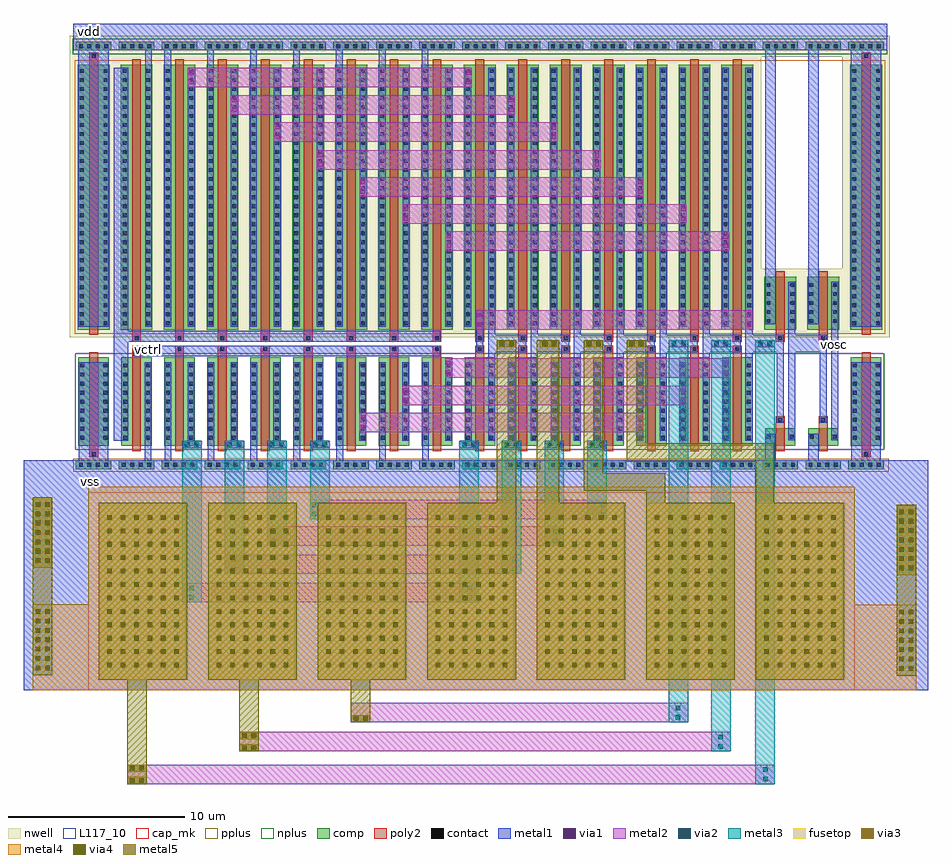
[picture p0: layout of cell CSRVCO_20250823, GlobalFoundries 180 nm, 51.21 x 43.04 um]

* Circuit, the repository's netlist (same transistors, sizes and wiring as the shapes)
** sch_path: /foss/designs/libs/core_analog/CSRVCO_20250823/CSRVCO_20250823.sch
.subckt CSRVCO_20250823 vctrl vdd vss vosc
*.PININFO vdd:B vss:B vosc:B vctrl:B
XM1 net8 net21 net1 vdd pfet_03v3 L=0.5u W=15.0u nf=1 m=1
XM2 net8 net21 net9 vss nfet_03v3 L=0.5u W=5.0u nf=1 m=1
XM3 net16 net8 net2 vdd pfet_03v3 L=0.5u W=15.0u nf=1 m=1
XM4 net16 net8 net10 vss nfet_03v3 L=0.5u W=5.0u nf=1 m=1
XM5 net17 net16 net3 vdd pfet_03v3 L=0.5u W=15.0u nf=1 m=1
XM6 net17 net16 net11 vss nfet_03v3 L=0.5u W=5.0u nf=1 m=1
XM7 net18 net17 net4 vdd pfet_03v3 L=0.5u W=15.0u nf=1 m=1
XM8 net18 net17 net12 vss nfet_03v3 L=0.5u W=5.0u nf=1 m=1
XM9 net19 net18 net5 vdd pfet_03v3 L=0.5u W=15.0u nf=1 m=1
XM10 net19 net18 net13 vss nfet_03v3 L=0.5u W=5.0u nf=1 m=1
XM11 net20 net19 net6 vdd pfet_03v3 L=0.5u W=15.0u nf=1 m=1
XM12 net20 net19 net14 vss nfet_03v3 L=0.5u W=5.0u nf=1 m=1
XM13 net21 net20 net7 vdd pfet_03v3 L=0.5u W=15.0u nf=1 m=1
XM14 net21 net20 net15 vss nfet_03v3 L=0.5u W=5.0u nf=1 m=1
XM15 net1 net22 vdd vdd pfet_03v3 L=0.5u W=15.0u nf=1 m=1
XM16 net9 vctrl vss vss nfet_03v3 L=0.5u W=5.0u nf=1 m=1
XM17 net2 net22 vdd vdd pfet_03v3 L=0.5u W=15.0u nf=1 m=1
XM18 net10 vctrl vss vss nfet_03v3 L=0.5u W=5.0u nf=1 m=1
XM19 net3 net22 vdd vdd pfet_03v3 L=0.5u W=15.0u nf=1 m=1
XM20 net11 vctrl vss vss nfet_03v3 L=0.5u W=5.0u nf=1 m=1
XM21 net4 net22 vdd vdd pfet_03v3 L=0.5u W=15.0u nf=1 m=1
XM22 net12 vctrl vss vss nfet_03v3 L=0.5u W=5.0u nf=1 m=1
XM23 net5 net22 vdd vdd pfet_03v3 L=0.5u W=15.0u nf=1 m=1
XM24 net13 vctrl vss vss nfet_03v3 L=0.5u W=5.0u nf=1 m=1
XM25 net6 net22 vdd vdd pfet_03v3 L=0.5u W=15.0u nf=1 m=1
XM26 net14 vctrl vss vss nfet_03v3 L=0.5u W=5.0u nf=1 m=1
XM27 net7 net22 vdd vdd pfet_03v3 L=0.5u W=15.0u nf=1 m=1
XM28 net15 vctrl vss vss nfet_03v3 L=0.5u W=5.0u nf=1 m=1
XM29 net22 net22 vdd vdd pfet_03v3 L=0.5u W=15.0u nf=1 m=1
XM30 net22 vctrl vss vss nfet_03v3 L=0.5u W=5.0u nf=1 m=1
x1 net21 vss vosc vdd asc_delay
XM31 vss vss vss vss nfet_03v3 L=0.5u W=5.0u nf=1 m=2
XM32 vdd vdd vdd vdd pfet_03v3 L=0.5u W=15.0u nf=1 m=2
XC1 net8 vss cap_mim_2f0fF c_width=10e-6 c_length=5e-6 m=1
XC2 net16 vss cap_mim_2f0fF c_width=10e-6 c_length=5e-6 m=1
XC3 net17 vss cap_mim_2f0fF c_width=10e-6 c_length=5e-6 m=1
XC4 net18 vss cap_mim_2f0fF c_width=10e-6 c_length=5e-6 m=1
XC5 net19 vss cap_mim_2f0fF c_width=10e-6 c_length=5e-6 m=1
XC6 net20 vss cap_mim_2f0fF c_width=10e-6 c_length=5e-6 m=1
XC7 net21 vss cap_mim_2f0fF c_width=10e-6 c_length=5e-6 m=1
.ends

* expanding   symbol:  libs/core_analog/asc_delay/asc_delay.sym # of pins=4
** sym_path: /foss/designs/libs/core_analog/asc_delay/asc_delay.sym
** sch_path: /foss/designs/libs/core_analog/asc_delay/asc_delay.sch
.subckt asc_delay in vss out vdd
*.PININFO vdd:B vss:B in:B out:B
x1 in vdd net1 vss inv1u05u
x2 net1 vdd out vss inv1u05u
.ends


* expanding   symbol:  libs/core_analog/inv1u05u/inv1u05u.sym # of pins=4
** sym_path: /foss/designs/libs/core_analog/inv1u05u/inv1u05u.sym
** sch_path: /foss/designs/libs/core_analog/inv1u05u/inv1u05u.sch
.subckt inv1u05u in vdd out vss
*.PININFO in:B out:B vss:B vdd:B
XM1 out in vdd vdd pfet_03v3 L=0.5u W=3.0u nf=1 m=1
XM2 out in vss vss nfet_03v3 L=0.5u W=1.0u nf=1 m=1
.ends

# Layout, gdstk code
from math import pi, radians
import gdstk
lib = gdstk.Library(unit=1e-6, precision=5e-09)
def R(c, l, rs):  # rectangles x0, y0, x1, y1
    for r in rs: c.add(gdstk.rectangle(r[:2], r[2:], *l))
def A(c, l, x, y, w, h, nx, ny, dx, dy):  # array of equal rectangles
    R(c, l, [(x+i*dx, y+j*dy, x+i*dx+w, y+j*dy+h) for i in range(nx) for j in range(ny)])
nwell = (21, 0)
comp = (22, 0)
poly2 = (30, 0)
pplus = (31, 0)
nplus = (32, 0)
contact = (33, 0)
metal1 = (34, 0)
via1 = (35, 0)
metal2 = (36, 0)
via2 = (38, 0)
via3 = (40, 0)
via4 = (41, 0)
metal3 = (42, 0)
metal4 = (46, 0)
fusetop = (75, 0)
metal5 = (81, 0)
cap_mk = (117, 5)
L117_10 = (117, 10)

via_dev_3 = lib.new_cell('via_dev$3')
R(via_dev_3, comp, [(0,0,2,0.5)])
A(via_dev_3, contact, 0.17, 0.14, 0.22, 0.22, 4, 1, 0.48, 0)
R(via_dev_3, metal1, [(0,0,2,0.5)])

nfet_1 = lib.new_cell('nfet$1')
R(nfet_1, comp, [(-0.42,0,0,5), (0,0,0.88,5), (0.88,0,1.3,5)])
R(nfet_1, poly2, [(0.19,-0.3,0.69,5.3), (0.19,5.3,0.69,5.66)])
R(nfet_1, nplus, [(-0.59,-0.24,1.47,5.24)])
A(nfet_1, contact, -0.32, 0.35, 0.22, 0.22, 1, 9, 0, 0.51)
A(nfet_1, contact, 0.98, 0.35, 0.22, 0.22, 1, 9, 0, 0.51)
R(nfet_1, contact, [(0.33,5.37,0.55,5.59)])
R(nfet_1, metal1, [(-0.4,0.27,-0.02,4.73), (0.9,0.27,1.28,4.73), (0.25,5.29,0.63,5.67)])

pfet_1 = lib.new_cell('pfet$1')
R(pfet_1, nwell, [(-0.9,-0.44,1.78,15.44)])
R(pfet_1, comp, [(-0.46,0,0,15), (0,0,0.88,15), (0.88,0,1.34,15)])
R(pfet_1, poly2, [(0.19,-0.68,0.69,-0.3), (0.19,-0.3,0.69,15.3)])
R(pfet_1, pplus, [(-0.63,-0.24,1.51,15.24)])
A(pfet_1, contact, -0.34, 0.25, 0.22, 0.22, 1, 29, 0, 0.51)
A(pfet_1, contact, 1, 0.25, 0.22, 0.22, 1, 29, 0, 0.51)
R(pfet_1, contact, [(0.33,-0.6,0.55,-0.38)])
R(pfet_1, metal1, [(0.25,-0.68,0.63,-0.3), (-0.42,0.17,-0.04,14.83), (0.92,0.17,1.3,14.83)])

nfet_2 = lib.new_cell('nfet$2')
R(nfet_2, comp, [(-0.42,0,0,5), (0,0,0.88,5), (0.88,0,1.3,5)])
R(nfet_2, poly2, [(0.19,-0.66,0.69,-0.3), (0.19,-0.3,0.69,5.3)])
R(nfet_2, nplus, [(-0.59,-0.24,1.47,5.24)])
A(nfet_2, contact, -0.32, 0.35, 0.22, 0.22, 1, 9, 0, 0.51)
A(nfet_2, contact, 0.98, 0.35, 0.22, 0.22, 1, 9, 0, 0.51)
R(nfet_2, contact, [(0.33,-0.59,0.55,-0.37)])
R(nfet_2, metal1, [(0.25,-0.67,0.63,-0.29), (-0.4,0.27,-0.02,4.73), (0.9,0.27,1.28,4.73)])

via_dev_4 = lib.new_cell('via_dev$4')
R(via_dev_4, metal1, [(0,0,1.1,0.4)])
R(via_dev_4, via1, [(0.155,0.07,0.415,0.33), (0.685,0.07,0.945,0.33)])
R(via_dev_4, metal2, [(0,0,1.1,0.4)])

via_dev = lib.new_cell('via_dev')
R(via_dev, metal1, [(0,0,1.1,0.4)])
R(via_dev, via1, [(0.155,0.07,0.415,0.33), (0.685,0.07,0.945,0.33)])
R(via_dev, metal2, [(0,0,1.1,0.4)])
R(via_dev, via2, [(0.155,0.07,0.415,0.33), (0.685,0.07,0.945,0.33)])
R(via_dev, metal3, [(0,0,1.1,0.4)])

cap_mim_1 = lib.new_cell('cap_mim$1')
A(cap_mim_1, via4, 0.69, 0.47, 0.26, 0.26, 12, 6, 0.76, 0.76)
R(cap_mim_1, metal4, [(-0.6,-0.6,10.6,5.6)])
R(cap_mim_1, fusetop, [(0,0,10,5)])
R(cap_mim_1, metal5, [(0,0,10,5)])
R(cap_mim_1, cap_mk, [(-0.6,-0.6,10.6,5.6)])
R(cap_mim_1, L117_10, [(0,0,10,0.1)])

pfet_2 = lib.new_cell('pfet$2')
R(pfet_2, nwell, [(-0.9,-0.44,1.78,15.44)])
R(pfet_2, comp, [(-0.46,0,0,15), (0,0,0.88,15), (0.88,0,1.34,15)])
R(pfet_2, poly2, [(0.19,-0.3,0.69,15.3), (0.19,15.3,0.69,15.68)])
R(pfet_2, pplus, [(-0.63,-0.24,1.51,15.24)])
A(pfet_2, contact, -0.34, 0.25, 0.22, 0.22, 1, 29, 0, 0.51)
A(pfet_2, contact, 1, 0.25, 0.22, 0.22, 1, 29, 0, 0.51)
R(pfet_2, contact, [(0.33,15.38,0.55,15.6)])
R(pfet_2, metal1, [(-0.42,0.17,-0.04,14.83), (0.92,0.17,1.3,14.83), (0.25,15.3,0.63,15.68)])

via_dev_8 = lib.new_cell('via_dev$8')
R(via_dev_8, metal1, [(0,0,1.1,0.4)])
R(via_dev_8, via1, [(0.155,0.07,0.415,0.33), (0.685,0.07,0.945,0.33)])
R(via_dev_8, metal2, [(0,0,1.1,0.4)])
R(via_dev_8, via2, [(0.155,0.07,0.415,0.33), (0.685,0.07,0.945,0.33)])
R(via_dev_8, via3, [(0.155,0.07,0.415,0.33), (0.685,0.07,0.945,0.33)])
R(via_dev_8, via4, [(0.155,0.07,0.415,0.33), (0.685,0.07,0.945,0.33)])
R(via_dev_8, metal3, [(0,0,1.1,0.4)])
R(via_dev_8, metal4, [(0,0,1.1,0.4)])
R(via_dev_8, metal5, [(0,0,1.1,0.4)])

pfet = lib.new_cell('pfet')
R(pfet, nwell, [(-0.9,-0.44,1.78,3.44)])
R(pfet, comp, [(-0.46,0,0,3), (0,0,0.88,3), (0.88,0,1.34,3)])
R(pfet, poly2, [(0.19,-0.68,0.69,-0.3), (0.19,-0.3,0.69,3.3)])
R(pfet, pplus, [(-0.63,-0.24,1.51,3.24)])
A(pfet, contact, -0.34, 0.37, 0.22, 0.22, 1, 5, 0, 0.51)
A(pfet, contact, 1, 0.37, 0.22, 0.22, 1, 5, 0, 0.51)
R(pfet, contact, [(0.33,-0.6,0.55,-0.38)])
R(pfet, metal1, [(0.25,-0.68,0.63,-0.3), (-0.42,0.29,-0.04,2.71), (0.92,0.29,1.3,2.71)])

via_dev_2 = lib.new_cell('via_dev$2')

via_dev_5 = lib.new_cell('via_dev$5')
R(via_dev_5, metal2, [(0,0,1.1,0.4)])
R(via_dev_5, via2, [(0.155,0.07,0.415,0.33), (0.685,0.07,0.945,0.33)])
R(via_dev_5, metal3, [(0,0,1.1,0.4)])

via_dev_9 = lib.new_cell('via_dev$9')
R(via_dev_9, metal2, [(0,0,1.1,0.4)])
R(via_dev_9, via2, [(0.155,0.07,0.415,0.33), (0.685,0.07,0.945,0.33)])
R(via_dev_9, via3, [(0.155,0.07,0.415,0.33), (0.685,0.07,0.945,0.33)])
R(via_dev_9, via4, [(0.155,0.07,0.415,0.33), (0.685,0.07,0.945,0.33)])
R(via_dev_9, metal3, [(0,0,1.1,0.4)])
R(via_dev_9, metal4, [(0,0,1.1,0.4)])
R(via_dev_9, metal5, [(0,0,1.1,0.4)])

via_dev_10 = lib.new_cell('via_dev$10')
A(via_dev_10, via4, 0.28, 0.155, 0.26, 0.26, 7, 2, 0.53, 0.53)
R(via_dev_10, metal4, [(0,0,4,1.1)])
R(via_dev_10, metal5, [(0,0,4,1.1)])

via_dev_11 = lib.new_cell('via_dev$11')
R(via_dev_11, metal1, [(0,0,4,1.1)])
A(via_dev_11, via1, 0.28, 0.155, 0.26, 0.26, 7, 2, 0.53, 0.53)
R(via_dev_11, metal2, [(0,0,4,1.1)])
A(via_dev_11, via2, 0.28, 0.155, 0.26, 0.26, 7, 2, 0.53, 0.53)
A(via_dev_11, via3, 0.28, 0.155, 0.26, 0.26, 7, 2, 0.53, 0.53)
A(via_dev_11, via4, 0.28, 0.155, 0.26, 0.26, 7, 2, 0.53, 0.53)
R(via_dev_11, metal3, [(0,0,4,1.1)])
R(via_dev_11, metal4, [(0,0,4,1.1)])
R(via_dev_11, metal5, [(0,0,4,1.1)])

nfet = lib.new_cell('nfet')
R(nfet, comp, [(-0.42,0,0,1), (0,0,0.88,1), (0.88,0,1.3,1)])
R(nfet, poly2, [(0.19,-0.3,0.69,1.3), (0.19,1.3,0.69,1.66)])
R(nfet, nplus, [(-0.59,-0.24,1.47,1.24)])
R(nfet, contact, [(-0.32,0.39,-0.1,0.61), (0.98,0.39,1.2,0.61), (0.33,1.37,0.55,1.59)])
R(nfet, metal1, [(-0.4,0.31,-0.02,0.69), (0.9,0.31,1.28,0.69), (0.25,1.29,0.63,1.67)])

csrvco_20250823 = lib.new_cell('CSRVCO_20250823')
A(csrvco_20250823, nwell, -82.58, 23.08, 2.68, 1.185, 19, 1, 2.43, 0)
A(csrvco_20250823, pplus, -82.39, -0.415, 2.435, 0.75, 19, 1, 2.43, 0)
A(csrvco_20250823, pplus, -80.17, 7.4, 0.29, 15.48, 18, 1, 2.43, 0)
R(csrvco_20250823, pplus, [(-43.43,10.88,-41.29,22.88), (-41,10.88,-38.86,22.88)])
A(csrvco_20250823, nplus, -80.21, 0.82, 0.37, 5.48, 18, 1, 2.43, 0)
A(csrvco_20250823, nplus, -82.425, 23.24, 2.385, 0.865, 19, 1, 2.43, 0)
A(csrvco_20250823, nplus, -80.04, 23.24, 0.045, 0.865, 18, 1, 2.43, 0)
R(csrvco_20250823, nplus, [(-43.39,2.3,-41.33,6.3), (-40.96,2.3,-38.9,6.3)])
A(csrvco_20250823, metal1, -82.39, -1.275, 2.43, 1.5, 19, 1, 2.43, 0)
A(csrvco_20250823, metal1, -82.39, -0.275, 0.15, 0.5, 19, 2, 2.43, 23.715)
A(csrvco_20250823, metal1, -77.22, -0.275, 0.38, 1.99, 7, 1, 2.43, 0)
A(csrvco_20250823, metal1, -58.91, 1.33, 0.4, 21.14, 7, 1, 2.43, 0)
A(csrvco_20250823, metal1, -59.56, 6.35, 0.38, 0.99, 7, 1, 2.43, 0)
A(csrvco_20250823, metal1, -58.91, 6.35, 2.16, 0.99, 8, 1, 2.43, 0)
A(csrvco_20250823, metal1, -77.24, 19.93, 0.38, 4.01, 7, 1, 2.43, 0)
A(csrvco_20250823, metal1, -82.39, 23.44, 2.35, 1.5, 19, 1, 2.43, 0)
A(csrvco_20250823, metal1, -80.04, 23.44, 0.08, 1.5, 18, 1, 2.43, 0)
R(csrvco_20250823, metal1, [(-85.195,-12.78,-33.985,0.225), (-82.08,-0.275,-80.4,5.79), (-78.35,-0.275,-77.97,1.715), (-43.2,-0.275,-42.61,1.75), (-40.77,-0.275,-40.185,1.75), (-38.34,-0.275,-36.66,5.79), (-80.095,1.33,-79.27,22.47), (-41.9,1.37,-41.5,10.35), (-39.47,1.37,-39.07,10.35), (-42.55,2.35,-42.17,7.34), (-40.12,2.35,-39.74,7.34), (-79,6.115,-61.61,6.73), (-59.58,6.35,-59.18,7.64), (-80.095,6.96,-61.61,7.575), (-82.1,7.81,-80.38,23.94), (-38.36,7.81,-36.64,23.94), (-43.22,7.93,-42.61,23.94), (-40.79,7.93,-40.18,23.94), (-78.33,19.935,-77.95,23.945)])
R(csrvco_20250823, metal2, [(-79.34,-18.095,-42.67,-16.995), (-72.99,-16.245,-45.165,-15.145), (-66.67,-14.6,-47.565,-13.5), (-76.225,-7.805,-59.435,-6.705), (-73.825,-6.2,-57.03,-5.1), (-71.415,-4.61,-54.615,-3.51), (-68.97,-3.095,-52.19,-1.995), (-66.2,1.835,-50.11,2.94), (-63.77,3.365,-47.68,4.47), (-61.34,4.92,-45.25,6.025), (-59.58,7.64,-43.93,8.74), (-61.32,12.105,-45.25,13.21), (-63.75,13.64,-47.68,14.745), (-66.18,15.17,-50.11,16.275), (-68.61,16.695,-52.54,17.8), (-71.04,18.28,-54.97,19.385), (-73.465,19.81,-57.395,20.915), (-75.9,21.37,-59.83,22.475)])
R(csrvco_20250823, metal3, [(-43.77,-18.095,-42.67,6.635), (-46.265,-16.245,-45.165,6.635), (-48.665,-14.6,-47.565,7.035), (-76.225,-7.805,-75.125,0.93), (-60.535,-7.805,-59.435,0.93), (-73.825,-6.2,-72.725,1.33), (-58.13,-6.2,-57.03,0.93), (-71.415,-4.61,-70.315,1.33), (-55.71,-4.61,-54.615,1.33), (-68.97,-3.095,-67.87,1.33), (-53.29,-3.095,-52.19,1.33)])
R(csrvco_20250823, metal4, [(-84.675,-12.78,-81.54,-7.925), (-81.54,-12.78,-38.14,-1.275), (-38.14,-12.78,-34.67,-7.955)])
R(csrvco_20250823, metal5, [(-79.34,-18.095,-78.24,-12.18), (-72.99,-16.245,-71.89,-12.18), (-66.67,-14.6,-65.57,-12.18), (-58.405,-12.18,-57.305,7.035), (-35.77,-7.955,-34.67,-6.275), (-84.675,-7.925,-83.575,-5.855), (-56.14,-2.18,-54.88,7.035), (-49.94,-2.18,-48.885,-1.5), (-43.74,-2.18,-42.73,0.145), (-53.475,-1.5,-52.375,6.635), (-53.475,-1.5,-48.885,-0.495), (-51.055,0.145,-49.955,6.635), (-51.055,0.145,-42.73,1.205)])
csrvco_20250823.add(gdstk.Reference(via_dev_3, (-60.37,23.44)))
csrvco_20250823.add(gdstk.Reference(via_dev_3, (-60.37,-0.275)))
csrvco_20250823.add(gdstk.Reference(nfet_1, (-52.52,1.06)))
csrvco_20250823.add(gdstk.Reference(nfet_1, (-54.95,1.06)))
csrvco_20250823.add(gdstk.Reference(nfet_1, (-57.38,1.06)))
csrvco_20250823.add(gdstk.Reference(pfet_1, (-59.81,7.64)))
csrvco_20250823.add(gdstk.Reference(nfet_1, (-59.81,1.06)))
csrvco_20250823.add(gdstk.Reference(nfet_1, (-45.23,1.06)))
csrvco_20250823.add(gdstk.Reference(nfet_1, (-50.09,1.06)))
csrvco_20250823.add(gdstk.Reference(nfet_2, (-37.94,1.06)))
csrvco_20250823.add(gdstk.Reference(nfet_1, (-74.39,1.06)))
csrvco_20250823.add(gdstk.Reference(nfet_1, (-76.82,1.06)))
csrvco_20250823.add(gdstk.Reference(nfet_1, (-79.25,1.06)))
csrvco_20250823.add(gdstk.Reference(nfet_2, (-81.68,1.06)))
csrvco_20250823.add(gdstk.Reference(nfet_1, (-64.67,1.06)))
csrvco_20250823.add(gdstk.Reference(nfet_1, (-67.1,1.06)))
csrvco_20250823.add(gdstk.Reference(nfet_1, (-69.53,1.06)))
csrvco_20250823.add(gdstk.Reference(nfet_1, (-71.96,1.06)))
csrvco_20250823.add(gdstk.Reference(nfet_1, (-62.24,1.06)))
csrvco_20250823.add(gdstk.Reference(nfet_1, (-47.66,1.06)))
csrvco_20250823.add(gdstk.Reference(via_dev_4, (-50.11,1.835), rotation=pi/2))
csrvco_20250823.add(gdstk.Reference(via_dev_4, (-65.8,1.84), rotation=pi/2))
csrvco_20250823.add(gdstk.Reference(via_dev, (-60.535,0.93)))
csrvco_20250823.add(gdstk.Reference(cap_mim_1, (-57.34,-12.18), rotation=pi/2))
csrvco_20250823.add(gdstk.Reference(via_dev, (-46.265,6.635)))
csrvco_20250823.add(gdstk.Reference(pfet_1, (-52.52,7.64)))
csrvco_20250823.add(gdstk.Reference(pfet_2, (-37.94,7.64)))
csrvco_20250823.add(gdstk.Reference(via_dev_3, (-55.51,23.44)))
csrvco_20250823.add(gdstk.Reference(via_dev_3, (-38.5,23.44)))
csrvco_20250823.add(gdstk.Reference(via_dev_8, (-53.475,6.635)))
csrvco_20250823.add(gdstk.Reference(pfet_1, (-57.38,7.64)))
csrvco_20250823.add(gdstk.Reference(via_dev_8, (-57.305,7.035), rotation=pi))
csrvco_20250823.add(gdstk.Reference(pfet_1, (-45.23,7.64)))
csrvco_20250823.add(gdstk.Reference(via_dev_3, (-57.94,23.44)))
csrvco_20250823.add(gdstk.Reference(via_dev_8, (-51.055,6.635)))
csrvco_20250823.add(gdstk.Reference(via_dev, (-43.77,6.635)))
csrvco_20250823.add(gdstk.Reference(via_dev_3, (-53.08,23.44)))
csrvco_20250823.add(gdstk.Reference(via_dev_8, (-55.98,6.635)))
csrvco_20250823.add(gdstk.Reference(via_dev, (-48.665,6.635)))
csrvco_20250823.add(gdstk.Reference(via_dev_3, (-50.65,23.44)))
csrvco_20250823.add(gdstk.Reference(via_dev_3, (-43.36,23.44)))
csrvco_20250823.add(gdstk.Reference(pfet, (-42.8,7.64)))
csrvco_20250823.add(gdstk.Reference(via_dev_3, (-40.93,23.44)))
csrvco_20250823.add(gdstk.Reference(pfet, (-40.37,7.64)))
csrvco_20250823.add(gdstk.Reference(pfet_1, (-54.95,7.64)))
csrvco_20250823.add(gdstk.Reference(via_dev_4, (-59.18,7.64), rotation=pi/2))
csrvco_20250823.add(gdstk.Reference(via_dev_4, (-43.93,7.64), rotation=pi/2))
csrvco_20250823.add(gdstk.Reference(via_dev_4, (-57.395,19.81), rotation=pi/2))
csrvco_20250823.add(gdstk.Reference(via_dev_4, (-54.97,18.28), rotation=pi/2))
csrvco_20250823.add(gdstk.Reference(via_dev_4, (-52.54,16.695), rotation=pi/2))
csrvco_20250823.add(gdstk.Reference(via_dev_4, (-50.11,15.17), rotation=pi/2))
csrvco_20250823.add(gdstk.Reference(via_dev_4, (-47.68,13.64), rotation=pi/2))
csrvco_20250823.add(gdstk.Reference(via_dev_4, (-45.25,12.105), rotation=pi/2))
csrvco_20250823.add(gdstk.Reference(via_dev_4, (-45.25,4.92), rotation=pi/2))
csrvco_20250823.add(gdstk.Reference(via_dev_4, (-47.68,3.365), rotation=pi/2))
csrvco_20250823.add(gdstk.Reference(via_dev_3, (-45.79,23.44)))
csrvco_20250823.add(gdstk.Reference(pfet_1, (-47.66,7.64)))
csrvco_20250823.add(gdstk.Reference(via_dev_3, (-48.22,23.44)))
csrvco_20250823.add(gdstk.Reference(pfet_1, (-50.09,7.64)))
csrvco_20250823.add(gdstk.Reference(pfet_1, (-76.82,7.64)))
csrvco_20250823.add(gdstk.Reference(via_dev_3, (-72.52,23.44)))
csrvco_20250823.add(gdstk.Reference(pfet_1, (-64.67,7.64)))
csrvco_20250823.add(gdstk.Reference(pfet_1, (-74.39,7.64)))
csrvco_20250823.add(gdstk.Reference(via_dev_3, (-77.38,23.44)))
csrvco_20250823.add(gdstk.Reference(via_dev_3, (-65.23,23.44)))
csrvco_20250823.add(gdstk.Reference(via_dev_4, (-75.5,21.375), rotation=pi/2))
csrvco_20250823.add(gdstk.Reference(via_dev_4, (-59.83,21.37), rotation=pi/2))
csrvco_20250823.add(gdstk.Reference(via_dev_4, (-73.065,19.815), rotation=pi/2))
csrvco_20250823.add(gdstk.Reference(pfet_1, (-67.1,7.64)))
csrvco_20250823.add(gdstk.Reference(via_dev_4, (-70.64,18.285), rotation=pi/2))
csrvco_20250823.add(gdstk.Reference(pfet_1, (-79.25,7.64)))
csrvco_20250823.add(gdstk.Reference(via_dev_4, (-68.21,16.7), rotation=pi/2))
csrvco_20250823.add(gdstk.Reference(via_dev_3, (-67.66,23.44)))
csrvco_20250823.add(gdstk.Reference(via_dev_4, (-65.78,15.175), rotation=pi/2))
csrvco_20250823.add(gdstk.Reference(pfet_1, (-69.53,7.64)))
csrvco_20250823.add(gdstk.Reference(via_dev_4, (-63.35,13.645), rotation=pi/2))
csrvco_20250823.add(gdstk.Reference(via_dev_3, (-82.24,23.44)))
csrvco_20250823.add(gdstk.Reference(via_dev_4, (-60.92,12.11), rotation=pi/2))
csrvco_20250823.add(gdstk.Reference(via_dev_3, (-70.09,23.44)))
csrvco_20250823.add(gdstk.Reference(via_dev_4, (-60.94,4.925), rotation=pi/2))
csrvco_20250823.add(gdstk.Reference(pfet_1, (-71.96,7.64)))
csrvco_20250823.add(gdstk.Reference(via_dev_4, (-63.37,3.37), rotation=pi/2))
csrvco_20250823.add(gdstk.Reference(via_dev_3, (-74.95,23.44)))
csrvco_20250823.add(gdstk.Reference(pfet_1, (-62.24,7.64)))
csrvco_20250823.add(gdstk.Reference(via_dev_3, (-79.81,23.44)))
csrvco_20250823.add(gdstk.Reference(via_dev_3, (-62.8,23.44)))
csrvco_20250823.add(gdstk.Reference(pfet_2, (-81.68,7.64)))
csrvco_20250823.add(gdstk.Reference(via_dev_3, (-79.81,-0.275)))
csrvco_20250823.add(gdstk.Reference(via_dev_3, (-62.8,-0.275)))
csrvco_20250823.add(gdstk.Reference(via_dev_3, (-67.66,-0.275)))
csrvco_20250823.add(gdstk.Reference(via_dev_3, (-72.52,-0.275)))
csrvco_20250823.add(gdstk.Reference(via_dev_3, (-77.38,-0.275)))
csrvco_20250823.add(gdstk.Reference(via_dev_2, (-83.04,-0.865), rotation=pi/2))
csrvco_20250823.add(gdstk.Reference(via_dev_3, (-70.09,-0.275)))
csrvco_20250823.add(gdstk.Reference(via_dev_2, (-80.61,-0.865), rotation=pi/2))
csrvco_20250823.add(gdstk.Reference(via_dev_3, (-65.23,-0.275)))
csrvco_20250823.add(gdstk.Reference(via_dev, (-68.97,0.93)))
csrvco_20250823.add(gdstk.Reference(via_dev, (-71.415,0.93)))
csrvco_20250823.add(gdstk.Reference(via_dev, (-73.825,0.93)))
csrvco_20250823.add(gdstk.Reference(via_dev, (-76.225,0.93)))
csrvco_20250823.add(gdstk.Reference(via_dev_5, (-68.565,-3.095), rotation=pi/2))
csrvco_20250823.add(gdstk.Reference(via_dev_5, (-70.855,-4.61), rotation=pi/2))
csrvco_20250823.add(gdstk.Reference(via_dev_5, (-73.135,-6.2), rotation=pi/2))
csrvco_20250823.add(gdstk.Reference(via_dev_5, (-59.76,-7.805), rotation=pi/2))
csrvco_20250823.add(gdstk.Reference(via_dev_5, (-75.49,-7.805), rotation=pi/2))
csrvco_20250823.add(gdstk.Reference(via_dev_3, (-82.24,-0.275)))
csrvco_20250823.add(gdstk.Reference(cap_mim_1, (-63.54,-12.18), rotation=pi/2))
csrvco_20250823.add(gdstk.Reference(cap_mim_1, (-69.74,-12.18), rotation=pi/2))
csrvco_20250823.add(gdstk.Reference(cap_mim_1, (-75.94,-12.18), rotation=pi/2))
csrvco_20250823.add(gdstk.Reference(via_dev_9, (-72.99,-16.245)))
csrvco_20250823.add(gdstk.Reference(via_dev_9, (-72.99,-15.56)))
csrvco_20250823.add(gdstk.Reference(via_dev_9, (-66.67,-14.595)))
csrvco_20250823.add(gdstk.Reference(via_dev_9, (-79.34,-18.095)))
csrvco_20250823.add(gdstk.Reference(via_dev_9, (-79.34,-17.395)))
csrvco_20250823.add(gdstk.Reference(via_dev_3, (-74.95,-0.275)))
csrvco_20250823.add(gdstk.Reference(via_dev_10, (-83.575,-11.925), rotation=pi/2))
csrvco_20250823.add(gdstk.Reference(via_dev_11, (-83.575,-5.855), rotation=pi/2))
csrvco_20250823.add(gdstk.Reference(via_dev_5, (-54.9,-4.61), rotation=pi/2))
csrvco_20250823.add(gdstk.Reference(via_dev_3, (-55.51,-0.275)))
csrvco_20250823.add(gdstk.Reference(via_dev_5, (-57.235,-6.2), rotation=pi/2))
csrvco_20250823.add(gdstk.Reference(via_dev_3, (-57.94,-0.275)))
csrvco_20250823.add(gdstk.Reference(via_dev_3, (-48.22,-0.275)))
csrvco_20250823.add(gdstk.Reference(via_dev_3, (-43.36,-0.275)))
csrvco_20250823.add(gdstk.Reference(cap_mim_1, (-38.74,-12.18), rotation=pi/2))
csrvco_20250823.add(gdstk.Reference(cap_mim_1, (-44.94,-12.18), rotation=pi/2))
csrvco_20250823.add(gdstk.Reference(cap_mim_1, (-51.14,-12.18), rotation=pi/2))
csrvco_20250823.add(gdstk.Reference(nfet, (-42.8,1.06)))
csrvco_20250823.add(gdstk.Reference(via_dev_3, (-38.5,-0.275)))
csrvco_20250823.add(gdstk.Reference(via_dev_3, (-50.65,-0.275)))
csrvco_20250823.add(gdstk.Reference(via_dev, (-53.29,0.93)))
csrvco_20250823.add(gdstk.Reference(via_dev, (-55.71,0.93)))
csrvco_20250823.add(gdstk.Reference(via_dev_5, (-43,-18.095), rotation=pi/2))
csrvco_20250823.add(gdstk.Reference(via_dev, (-58.13,0.93)))
csrvco_20250823.add(gdstk.Reference(via_dev_3, (-40.93,-0.275)))
csrvco_20250823.add(gdstk.Reference(nfet, (-40.37,1.06)))
csrvco_20250823.add(gdstk.Reference(via_dev_3, (-53.08,-0.275)))
csrvco_20250823.add(gdstk.Reference(via_dev_3, (-45.79,-0.275)))
csrvco_20250823.add(gdstk.Reference(via_dev_5, (-47.955,-14.6), rotation=pi/2))
csrvco_20250823.add(gdstk.Reference(via_dev_10, (-34.67,-11.955), rotation=pi/2))
csrvco_20250823.add(gdstk.Reference(via_dev_11, (-34.67,-6.275), rotation=pi/2))
csrvco_20250823.add(gdstk.Reference(via_dev_5, (-52.19,-3.095), rotation=pi/2))
csrvco_20250823.add(gdstk.Reference(via_dev_5, (-45.535,-16.245), rotation=pi/2))
csrvco_20250823.add(gdstk.Label('vctrl', (-78.155,6.53), layer=34, texttype=10))
csrvco_20250823.add(gdstk.Label('vosc', (-39.305,6.79), layer=34, texttype=10))
csrvco_20250823.add(gdstk.Label('vdd', (-81.49,24.515), layer=34, texttype=10))
csrvco_20250823.add(gdstk.Label('vss', (-81.41,-0.945), layer=34, texttype=10))

lib.write_gds('CSRVCO_20250823.gds')
